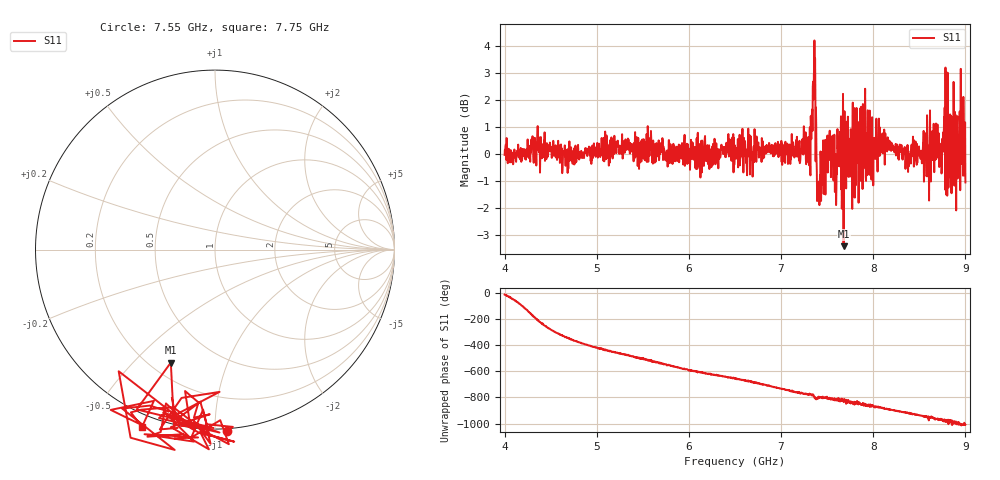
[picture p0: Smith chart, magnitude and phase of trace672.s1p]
! Created with skrf 1.8.0 (http://scikit-rf.org).
# Hz S RI R 50.0
!freq ReS11 ImS11
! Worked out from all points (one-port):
!   1601 points, 4 GHz to 9 GHz, reference 50 ohm
!   lowest |S11| = -3.4 dB at 7.678 GHz (marker M1), VSWR 5.17, Z = 13.9 - j32.3 ohm
!   |S11| at or under -10 dB: nowhere
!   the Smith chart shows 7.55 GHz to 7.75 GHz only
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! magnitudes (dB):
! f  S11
! 4 GHz  0.0
! 4.625 GHz  -0.7
! 5.25 GHz  0.2
! 5.875 GHz  -0.2
! 6.5 GHz  0.2
! 7.125 GHz  0.2
! 7.294 GHz  0.1
! 7.316 GHz  -0.7
! 7.347 GHz  2.7
! 7.369 GHz  3.6
! 7.4 GHz  -1.0
! 7.412 GHz  -1.4
! 7.512 GHz  0.3
! 7.581 GHz  -0.4
! 7.625 GHz  -0.4
! 7.678 GHz  -3.4
! 7.691 GHz  0.4
! 7.75 GHz  0.6
! 7.788 GHz  0.1
! 7.891 GHz  -0.2
! 7.944 GHz  0.4
! 8.088 GHz  0.4
! 8.375 GHz  0.1
! 8.728 GHz  -0.2
! 8.788 GHz  -0.5
! 8.919 GHz  0.2
! 8.956 GHz  0.6
! 9 GHz  -1.0
